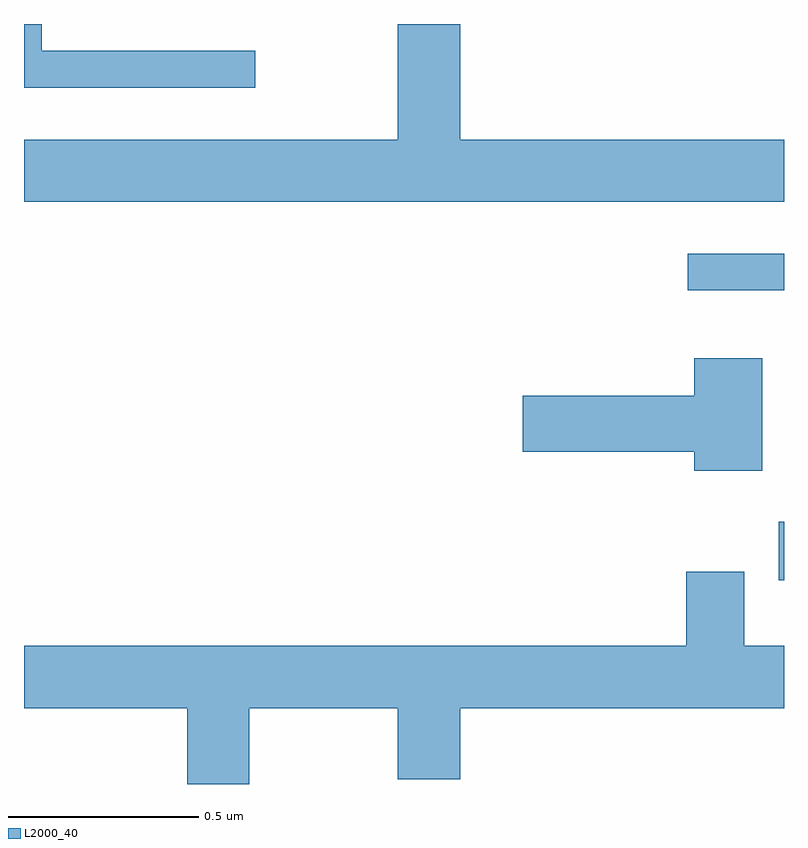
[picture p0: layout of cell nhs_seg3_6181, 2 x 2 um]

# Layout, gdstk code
import gdstk
lib = gdstk.Library(unit=1e-6, precision=1e-09)
def R(c, l, rs):  # rectangles x0, y0, x1, y1
    for r in rs: c.add(gdstk.rectangle(r[:2], r[2:], *l))
def P(c, l, *ps):  # polygons
    for p in ps: c.add(gdstk.Polygon(p, *l))
L2000_40 = (2000, 40)

nhs_seg3_6181 = lib.new_cell('nhs_seg3_6181')
R(nhs_seg3_6181, L2000_40, [(189.986,683.936,190,684.09), (189.747,684.699,190,684.796)])
P(nhs_seg3_6181, L2000_40, [(190,685.096),(189.148,685.096),(189.148,685.4),(188.984,685.4),(188.984,685.096),(188,685.096),(188,684.932),(190,684.932)],
  [(188.608,685.329),(188.047,685.329),(188.047,685.4),(188,685.4),(188,685.232),(188.608,685.232)],
  [(189.943,684.52),(189.764,684.52),(189.764,684.422),(189.312,684.422),(189.312,684.275),(189.764,684.275),(189.764,684.224),(189.943,684.224)],
  [(188.593,683.6),(188.984,683.6),(188.984,683.412),(189.148,683.412),(189.148,683.6),(190,683.6),(190,683.764),(189.895,683.764),(189.895,683.959),(189.743,683.959),(189.743,683.764),(188,683.764),(188,683.6),(188.429,683.6),(188.429,683.4),(188.593,683.4)])

lib.write_gds('nhs_seg3_6181.gds')
